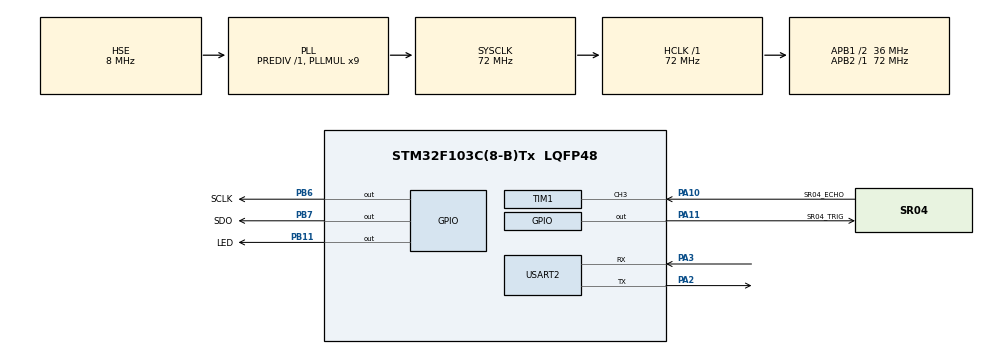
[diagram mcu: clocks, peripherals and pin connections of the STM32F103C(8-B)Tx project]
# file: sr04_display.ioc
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Mcu.Family=STM32F1
Mcu.Name=STM32F103C(8-B)Tx
Mcu.Package=LQFP48
NVIC.PriorityGroup=NVIC_PRIORITYGROUP_4
NVIC.TIM1_CC_IRQn=true\:0\:0\:false\:false\:true\:true\:true\:true
PA10.GPIO_Label=SR04_ECHO
PA10.Signal=S_TIM1_CH3
PA11.GPIO_Label=SR04_TRIG
PA11.Signal=GPIO_Output
PA13.Mode=Serial_Wire
PA13.Signal=SYS_JTMS-SWDIO
PA14.Mode=Serial_Wire
PA14.Signal=SYS_JTCK-SWCLK
PA2.Mode=Asynchronous
PA2.Signal=USART2_TX
PA3.Mode=Asynchronous
PA3.Signal=USART2_RX
PB11.GPIO_Label=LED
PB11.PinState=GPIO_PIN_RESET
PB11.Signal=GPIO_Output
PB6.GPIO_Label=SCLK
PB6.Signal=GPIO_Output
PB7.GPIO_Label=SDO
PB7.Signal=GPIO_Output
PD0-OSC_IN.Mode=HSE-External-Oscillator
PD0-OSC_IN.Signal=RCC_OSC_IN
PD1-OSC_OUT.Mode=HSE-External-Oscillator
PD1-OSC_OUT.Signal=RCC_OSC_OUT
ProjectManager.HeapSize=0x200
ProjectManager.StackSize=0x400
ProjectManager.TargetToolchain=STM32CubeIDE
RCC.AHBFreq_Value=72000000
RCC.APB1CLKDivider=RCC_HCLK_DIV2
RCC.APB1Freq_Value=36000000
RCC.APB1TimFreq_Value=72000000
RCC.APB2Freq_Value=72000000
RCC.APB2TimFreq_Value=72000000
RCC.HCLKFreq_Value=72000000
RCC.PLLMUL=RCC_PLL_MUL9
RCC.PLLSourceVirtual=RCC_PLLSOURCE_HSE
RCC.SYSCLKFreq_VALUE=72000000
RCC.SYSCLKSource=RCC_SYSCLKSOURCE_PLLCLK
RCC.USBFreq_Value=72000000
SH.S_TIM1_CH3.0=TIM1_CH3,Input_Capture3_from_TI3
TIM1.Channel-Input_Capture3_from_TI3=TIM_CHANNEL_3
TIM1.Prescaler=71
USART2.VirtualMode=VM_ASYNC
VP_RTC_VS_RTC_Activate.Mode=RTC_Enabled
VP_TIM1_VS_ClockSourceINT.Mode=Internal
board=custom

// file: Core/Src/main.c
/* USER CODE BEGIN Header */
/**
  ******************************************************************************
  * @file           : main.c
  * @brief          : Main program body
  ******************************************************************************
  * @attention
  *
  * Copyright (c) 2025 STMicroelectronics.
  * All rights reserved.
  *
  * This software is licensed under terms that can be found in the LICENSE file
  * in the root directory of this software component.
  * If no LICENSE file comes with this software, it is provided AS-IS.
  *
  ******************************************************************************
  */
/* USER CODE END Header */
#include "main.h"
#include "rtc.h"
#include "tim.h"
#include "usart.h"
#include "gpio.h"

/* USER CODE BEGIN Includes */
#include "tm1637.h"
/* USER CODE END Includes */

/* USER CODE BEGIN PV */
uint8_t echo_flag = 0;
uint16_t rising_cnt = 0, falling_cnt = 0;
uint8_t CurrentDisplay[4];
uint8_t tm1637_Segments[8] = {0};
/* USER CODE END PV */

void SystemClock_Config(void);
/* USER CODE BEGIN PFP */
void display_distance_cm(uint32_t mm_distance);
/* USER CODE END PFP */

int main(void)
{

  /* USER CODE BEGIN 1 */
    tm1637_Segments[0] = A_SEG;
    tm1637_Segments[1] = B_SEG;
    tm1637_Segments[2] = C_SEG;
    tm1637_Segments[3] = D_SEG;
    tm1637_Segments[4] = E_SEG;
    tm1637_Segments[5] = F_SEG;
    tm1637_Segments[6] = G_SEG;
    tm1637_Segments[7] = DP_SEG;
  /* USER CODE END 1 */

  /* MCU Configuration--------------------------------------------------------*/

  /* Reset of all peripherals, Initializes the Flash interface and the Systick. */
  HAL_Init();

  /* Configure the system clock */
  SystemClock_Config();

  /* Initialize all configured peripherals */
  MX_GPIO_Init();
  MX_RTC_Init();
  MX_TIM1_Init();
  MX_USART2_UART_Init();
  /* USER CODE BEGIN 2 */
    HAL_GPIO_WritePin(SCLK_GPIO_Port, SCLK_Pin, GPIO_PIN_SET);
    HAL_GPIO_WritePin(SDO_GPIO_Port, SDO_Pin, GPIO_PIN_SET);
  /* USER CODE END 2 */

  /* Infinite loop */
  while (1)
  {

    /* USER CODE BEGIN 3 */
      HAL_GPIO_WritePin(SR04_TRIG_GPIO_Port, SR04_TRIG_Pin, 1);
      HAL_Delay(5);
      HAL_GPIO_WritePin(SR04_TRIG_GPIO_Port, SR04_TRIG_Pin, 0);
      // 清零
      rising_cnt = 0;
      falling_cnt = 0;
      echo_flag = 0;
      __HAL_TIM_SET_COUNTER(&htim1, 0);
      // 开始捕获
      __HAL_TIM_SET_CAPTUREPOLARITY(&htim1, TIM_CHANNEL_3, TIM_INPUTCHANNELPOLARITY_RISING);
      HAL_TIM_IC_Start_IT(&htim1, TIM_CHANNEL_3);
      // 等待完成
      for (uint16_t i = 0; i < 150; i++)
      {
          if (rising_cnt != 0 && falling_cnt != 0)
          {
              // 计算距离
              // 定时器每1us计数1次，因此 距离=计数*0.34/2（毫米）
              float distance = (falling_cnt - rising_cnt) * 0.17;
              display_distance_cm((uint32_t)distance);  // 转换为毫米并显示
              break;
          }
          HAL_Delay(1);
      }
      // 停止捕获
      HAL_TIM_IC_Stop_IT(&htim1, TIM_CHANNEL_3);
      HAL_Delay(300);
  }
  /* USER CODE END 3 */
}

void SystemClock_Config(void)
{
  RCC_OscInitTypeDef RCC_OscInitStruct = {0};
  RCC_ClkInitTypeDef RCC_ClkInitStruct = {0};
  RCC_PeriphCLKInitTypeDef PeriphClkInit = {0};

  /** Initializes the RCC Oscillators according to the specified parameters
  * in the RCC_OscInitTypeDef structure.
  */
  RCC_OscInitStruct.OscillatorType = RCC_OSCILLATORTYPE_LSI|RCC_OSCILLATORTYPE_HSE;
  RCC_OscInitStruct.HSEState = RCC_HSE_ON;
  RCC_OscInitStruct.HSEPredivValue = RCC_HSE_PREDIV_DIV1;
  RCC_OscInitStruct.HSIState = RCC_HSI_ON;
  RCC_OscInitStruct.LSIState = RCC_LSI_ON;
  RCC_OscInitStruct.PLL.PLLState = RCC_PLL_ON;
  RCC_OscInitStruct.PLL.PLLSource = RCC_PLLSOURCE_HSE;
  RCC_OscInitStruct.PLL.PLLMUL = RCC_PLL_MUL9;
  if (HAL_RCC_OscConfig(&RCC_OscInitStruct) != HAL_OK)
  {
    Error_Handler();
  }

  /** Initializes the CPU, AHB and APB buses clocks
  */
  RCC_ClkInitStruct.ClockType = RCC_CLOCKTYPE_HCLK|RCC_CLOCKTYPE_SYSCLK
                              |RCC_CLOCKTYPE_PCLK1|RCC_CLOCKTYPE_PCLK2;
  RCC_ClkInitStruct.SYSCLKSource = RCC_SYSCLKSOURCE_PLLCLK;
  RCC_ClkInitStruct.AHBCLKDivider = RCC_SYSCLK_DIV1;
  RCC_ClkInitStruct.APB1CLKDivider = RCC_HCLK_DIV2;
  RCC_ClkInitStruct.APB2CLKDivider = RCC_HCLK_DIV1;

  if (HAL_RCC_ClockConfig(&RCC_ClkInitStruct, FLASH_LATENCY_2) != HAL_OK)
  {
    Error_Handler();
  }
  PeriphClkInit.PeriphClockSelection = RCC_PERIPHCLK_RTC;
  PeriphClkInit.RTCClockSelection = RCC_RTCCLKSOURCE_LSI;
  if (HAL_RCCEx_PeriphCLKConfig(&PeriphClkInit) != HAL_OK)
  {
    Error_Handler();
  }
}

/* USER CODE BEGIN 4 */
void display_distance_cm(uint32_t mm_distance)
{
    uint32_t cm = mm_distance / 10;  // mm → cm，保留整数部分

    CurrentDisplay[0] = char2segments('0' + (cm / 1000) % 10);
    CurrentDisplay[1] = char2segments('0' + (cm / 100) % 10);
    CurrentDisplay[2] = char2segments('0' + (cm / 10) % 10);
    CurrentDisplay[3] = char2segments('0' + (cm % 10));

    // 去除前导 0：替换为空格段码
    if (cm < 1000) CurrentDisplay[0] = char2segments(' ');
    if (cm < 100) CurrentDisplay[1] = char2segments(' ');
    if (cm < 10) CurrentDisplay[2] = char2segments(' ');

    // 发送到显示器
    tm1637_DisplayHandle(7, CurrentDisplay);  // 亮度等级7

}
void HAL_TIM_IC_CaptureCallback(TIM_HandleTypeDef *htim)
{
    if (htim == &htim1 && htim->Channel == HAL_TIM_ACTIVE_CHANNEL_3)
    {
        // 捕获到上升沿
        if (!echo_flag)
        {
            rising_cnt = HAL_TIM_ReadCapturedValue(htim, TIM_CHANNEL_3);
            echo_flag = 1;
            __HAL_TIM_SET_CAPTUREPOLARITY(htim, TIM_CHANNEL_3, TIM_INPUTCHANNELPOLARITY_FALLING);
        }
            // 捕获到下降沿
        else
        {
            falling_cnt = HAL_TIM_ReadCapturedValue(htim, TIM_CHANNEL_3);
            echo_flag = 0;
            __HAL_TIM_SET_CAPTUREPOLARITY(htim, TIM_CHANNEL_3, TIM_INPUTCHANNELPOLARITY_RISING);
        }
    }
}
/* USER CODE END 4 */

void Error_Handler(void)
{
  __disable_irq();
  while (1)
  {
  }
}
